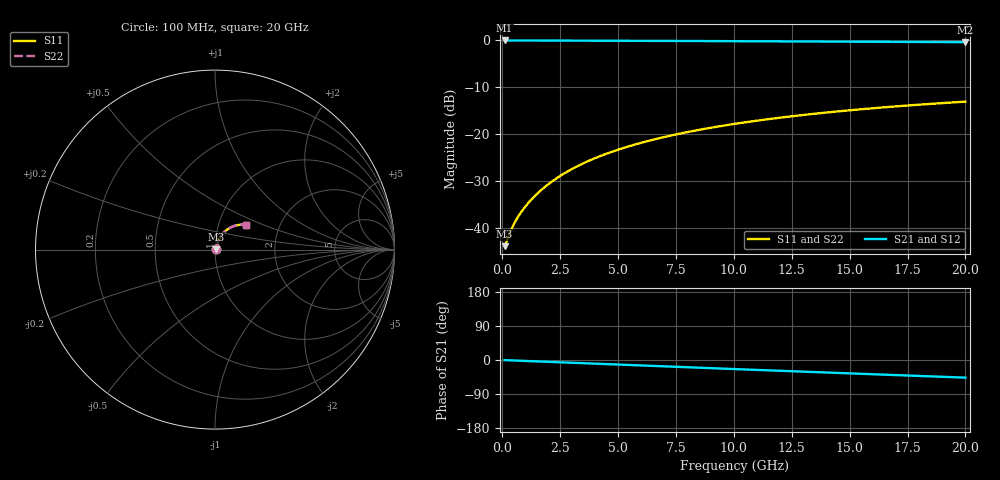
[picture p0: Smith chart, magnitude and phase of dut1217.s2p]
! Touchstone file exported from HFSS 2026.1.0
!  File:  C:/ffzhzh/LocalFiles/Ansys_Project_Files/temp_train_BSMRDL_1217_1783176740_43440.aedt
!  Generated:  10:53:32 PM Jul  4, 2026
!  Design:  BSMRDL
!  Project:  temp_train_BSMRDL_1217_1783176740_43440
! Variables:
!  h_bsmrdl = 3um
!  h_ox = 20um
!  h_rdl = 5um
!  h_sub = 80um
!  h_tmrdl = 5um
!  h_tsv = 80um
!  h_via = 3um
!  l_bsmrdl = 807.7um
!  l_sub = 1207.7um
!  l_tmrdl = 200um
!  m_sub = 200um
!  pitch = 23.33um
!  r_tsv = 6um
!  s_tmrdl = 10um
!  w_bsmrdl = 15.8um
!  w_sub = 500um
!  w_tmrdl = 12um
!  x_tsv_center1 = 206um
!  x_tsv_center2 = 1029.5um
!  x_tsv_center3 = 1241.5um
!  x_tsv_center4 = 2065um
!  x_tsv_center5 = 2277um
!  x_tsv_center6 = 3100.5um
# GHz S MA R 50.000000
! Terminal data exported
! Port[1] = BSM_RDL1_1_T1
! Port[2] = BSM_RDL1_1_T2
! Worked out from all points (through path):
!   200 points, 100 MHz to 20 GHz, reference 50 ohm
!   highest |S21| = -0.05 dB at 100 MHz (marker M1); lowest = -0.4 dB at 20 GHz (marker M2)
!   group delay of S21, straight-line fit = 6.45 ps
!   lowest |S11| = -43.8 dB at 100 MHz (marker M3), VSWR 1.01, Z = 50.6 + j0.185 ohm
!   |S11| at or under -10 dB: start of sweep to end of sweep
!   |S22| runs from -43.8 to -13.1 dB; largest |S21 - S12| = 1.9e-15
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0.1  0.006425 16.5  0.9938 -0.3  0.9938 -0.3  0.006425 16.5
! Gamma 0 0 0 0
! Port Impedance 50 0 50 0
0.4  0.009772 43.1  0.993 -1.0  0.993 -1.0  0.009772 43.1
0.6  0.01224 50.3  0.9924 -1.5  0.9924 -1.5  0.01224 50.3
0.7  0.01345 52.8  0.9922 -1.8  0.9922 -1.8  0.01345 52.8
0.9  0.01583 56.9  0.9918 -2.3  0.9918 -2.3  0.01583 56.9
1.1  0.01824 60.0  0.9915 -2.7  0.9915 -2.7  0.01824 60.0
1.3  0.02068 62.4  0.9913 -3.2  0.9913 -3.2  0.02068 62.4
1.5  0.02316 64.3  0.9911 -3.7  0.9911 -3.7  0.02316 64.3
1.8  0.02694 66.4  0.9908 -4.4  0.9908 -4.4  0.02694 66.4
2.3  0.03336 68.4  0.9903 -5.6  0.9903 -5.6  0.03336 68.5
2.9  0.04116 69.6  0.9897 -7.1  0.9897 -7.1  0.04115 69.6
3.5  0.04898 69.9  0.989 -8.5  0.989 -8.5  0.04898 69.9
4.2  0.05807 69.5  0.988 -10.2  0.988 -10.2  0.05807 69.5
5  0.06835 68.7  0.9867 -12.1  0.9867 -12.1  0.06835 68.7
5.9  0.07973 67.3  0.9851 -14.3  0.9851 -14.3  0.07973 67.3
6.8  0.09087 65.7  0.9834 -16.4  0.9834 -16.4  0.09087 65.7
8.3  0.1089 62.8  0.9802 -19.9  0.9802 -19.9  0.1088 62.8
10.1  0.1294 59.1  0.9762 -24.1  0.9762 -24.1  0.1294 59.1
11.7  0.1467 55.7  0.9724 -27.8  0.9724 -27.8  0.1467 55.7
13.4  0.1641 52.1  0.9684 -31.7  0.9684 -31.7  0.1641 52.1
16.7  0.1949 45.1  0.9607 -39.2  0.9607 -39.2  0.1949 45.2
20  0.2218 38.2  0.9534 -46.5  0.9534 -46.5  0.2218 38.2
